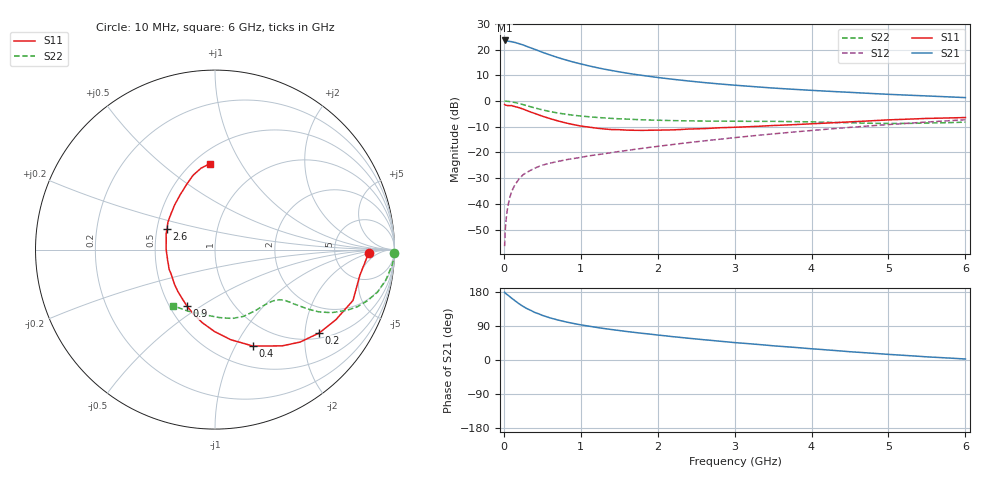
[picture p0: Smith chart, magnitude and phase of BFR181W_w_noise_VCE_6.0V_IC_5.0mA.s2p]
! Infineon Technologies  Discrete & RF Semiconductors
! BFR181W
! VCE =  6.0 V,  IC =  5.0 mA
! Common Emitter S-Parameters:  Jan 2017
# GHz  S  MA  R  50
!  f  S11  S21  S12  S22
! GHz  MAG  ANG  MAG  ANG  MAG  ANG  MAG  ANG
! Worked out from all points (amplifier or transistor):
!   77 points, 10 MHz to 6 GHz, reference 50 ohm
!   highest |S21| = 23.6 dB at 10 MHz (marker M1)
!   |S21| within 3 dB of that: start of sweep to 359.9 MHz
!   unconditionally stable (mu >= 1): 1.346 GHz to 3.386 GHz
!   at 130 MHz: K = 0.15, MSG = 28.2 dB, |S12| = -33.4 dB
!   at 2.2 GHz: K = 1.08, MAG = 11.0 dB, |S12| = -16.9 dB
!   at 6 GHz: K = 0.85, MSG = 4.3 dB, |S12| = -7.3 dB
!   lowest NFmin = 0.97 dB at 450 MHz
!   S11 on the Smith chart (normalised r, x): 10 MHz: 13, -2; 200 MHz: 1.14, -2.37; 400 MHz: 0.73, -1.18; 900 MHz: 0.61, -0.43; 2.6 GHz: 0.56, +0.14; 6 GHz: 0.60, +0.74
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0.01  0.8561 -1.2  15.16 178.9  0.0015 83.2  0.9985 -1.0
0.02  0.8369 -5.3  14.95 176.2  0.0033 95.2  1 -2.0
0.04  0.8248 -8.4  14.83 173.1  0.0067 83.9  0.9933 -4.1
0.1  0.8194 -20.2  14.37 163.3  0.0171 81.1  0.9669 -10.1
0.15  0.7788 -30.1  13.81 155.6  0.0242 75.6  0.9355 -14.7
0.2  0.7434 -38.7  13.09 148.1  0.0308 71.1  0.8962 -18.5
0.25  0.7001 -47.4  12.41 141.5  0.0369 67.2  0.8558 -21.8
0.3  0.6534 -55.2  11.6 135.6  0.041 64.1  0.8127 -24.5
0.4  0.5778 -68.5  10.22 125.7  0.0494 60.3  0.7384 -28.4
0.5  0.5096 -80.1  8.944 117.9  0.0566 57.3  0.6761 -30.9
0.6  0.4566 -90.3  7.923 111.2  0.0619 56.4  0.6266 -32.3
0.7  0.4132 -99.9  7.057 105.7  0.0668 55.8  0.5875 -33.2
0.9  0.3504 -116.8  5.775 96.6  0.0759 55.7  0.5323 -34.6
1.1  0.3124 -131.4  4.878 89.5  0.0858 57.0  0.4972 -35.5
1.3  0.2871 -145.0  4.206 83.1  0.0942 58.2  0.4719 -36.6
1.6  0.2724 -162.7  3.503 75.1  0.1096 59.7  0.447 -39.0
2.1  0.2735 174.1  2.77 63.8  0.1373 60.9  0.4209 -45.0
2.6  0.2914 156.6  2.3 53.5  0.168 61.2  0.4091 -52.8
3.1  0.3136 142.3  1.99 44.4  0.2014 60.0  0.4048 -60.8
4.1  0.3677 120.6  1.59 28.2  0.2758 55.4  0.3914 -77.9
5.1  0.4368 105.1  1.336 13.6  0.3576 48.1  0.3671 -102.6
6  0.479 93.5  1.171 2.6  0.4338 39.9  0.3898 -126.7
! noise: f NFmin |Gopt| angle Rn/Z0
0.45  0.97  0.33  16  0.23
0.9  1.03  0.3  30  0.23
1.9  1.44  0.15  80  0.2
2.4  1.59  0.13  94  0.22
